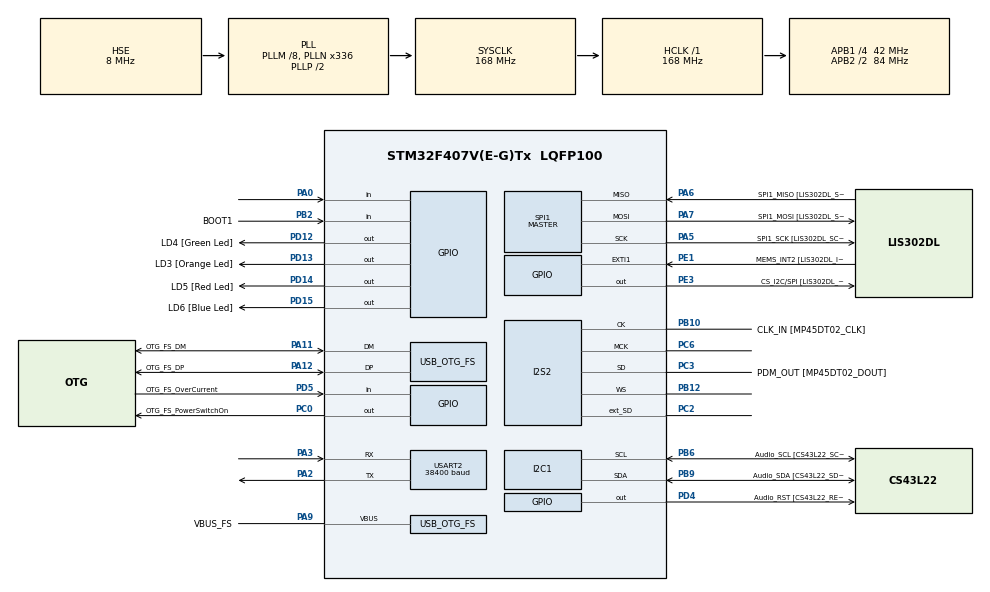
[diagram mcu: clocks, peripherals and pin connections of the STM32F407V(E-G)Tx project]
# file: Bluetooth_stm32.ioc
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Dma.I2S2_EXT_RX.0.Direction=DMA_PERIPH_TO_MEMORY
Dma.I2S2_EXT_RX.0.FIFOMode=DMA_FIFOMODE_DISABLE
Dma.I2S2_EXT_RX.0.Instance=DMA1_Stream3
Dma.I2S2_EXT_RX.0.MemDataAlignment=DMA_MDATAALIGN_HALFWORD
Dma.I2S2_EXT_RX.0.MemInc=DMA_MINC_ENABLE
Dma.I2S2_EXT_RX.0.Mode=DMA_CIRCULAR
Dma.I2S2_EXT_RX.0.PeriphDataAlignment=DMA_PDATAALIGN_HALFWORD
Dma.I2S2_EXT_RX.0.PeriphInc=DMA_PINC_DISABLE
Dma.I2S2_EXT_RX.0.Priority=DMA_PRIORITY_HIGH
Dma.Request0=I2S2_EXT_RX
Dma.Request1=SPI2_TX
Dma.SPI2_TX.1.Direction=DMA_MEMORY_TO_PERIPH
Dma.SPI2_TX.1.FIFOMode=DMA_FIFOMODE_DISABLE
Dma.SPI2_TX.1.Instance=DMA1_Stream4
Dma.SPI2_TX.1.MemDataAlignment=DMA_MDATAALIGN_HALFWORD
Dma.SPI2_TX.1.MemInc=DMA_MINC_ENABLE
Dma.SPI2_TX.1.Mode=DMA_CIRCULAR
Dma.SPI2_TX.1.PeriphDataAlignment=DMA_PDATAALIGN_HALFWORD
Dma.SPI2_TX.1.PeriphInc=DMA_PINC_DISABLE
Dma.SPI2_TX.1.Priority=DMA_PRIORITY_HIGH
FREERTOS.Tasks01=defaultTask,24,128,StartDefaultTask,Default,NULL,Dynamic,NULL,NULL
I2S2.AudioFreq=AudioFreqCustomValue
I2S2.AudioFreqCustom=44100
I2S2.DataFormat=I2S_DATAFORMAT_16B_EXTENDED
I2S2.ErrorAudioFreq=0.24 %
I2S2.FullDuplexMode=I2S_FULLDUPLEXMODE_ENABLE
I2S2.Instance=SPI$Index
I2S2.RealAudioFreq=44.108 KHz
I2S2.VirtualMode=I2S_MODE_MASTER
Mcu.Family=STM32F4
Mcu.Name=STM32F407V(E-G)Tx
Mcu.Package=LQFP100
NVIC.DMA1_Stream3_IRQn=true\:5\:0\:false\:false\:true\:true\:false\:true\:true
NVIC.DMA1_Stream4_IRQn=true\:5\:0\:false\:false\:true\:true\:false\:true\:true
NVIC.OTG_FS_IRQn=true\:5\:0\:false\:false\:true\:true\:true\:true\:true
NVIC.PriorityGroup=NVIC_PRIORITYGROUP_4
NVIC.TIM6_DAC_IRQn=true\:15\:0\:false\:false\:true\:false\:false\:true\:true
NVIC.TimeBase=TIM6_DAC_IRQn
NVIC.TimeBaseIP=TIM6
PA0-WKUP.Signal=GPIO_Input
PA10.GPIO_Label=OTG_FS_ID
PA10.GPIO_Mode=GPIO_MODE_AF_PP
PA10.GPIO_PuPd=GPIO_NOPULL
PA10.GPIO_Speed=GPIO_SPEED_FREQ_LOW
PA10.Signal=USB_OTG_FS_ID
PA11.GPIO_Label=OTG_FS_DM
PA11.GPIO_Mode=GPIO_MODE_AF_PP
PA11.GPIO_PuPd=GPIO_NOPULL
PA11.GPIO_Speed=GPIO_SPEED_FREQ_LOW
PA11.Mode=Host_Only
PA11.Signal=USB_OTG_FS_DM
PA12.GPIO_Label=OTG_FS_DP
PA12.GPIO_Mode=GPIO_MODE_AF_PP
PA12.GPIO_PuPd=GPIO_NOPULL
PA12.GPIO_Speed=GPIO_SPEED_FREQ_LOW
PA12.Mode=Host_Only
PA12.Signal=USB_OTG_FS_DP
PA13.GPIO_Label=SWDIO
PA13.Mode=Serial_Wire
PA13.Signal=SYS_JTMS-SWDIO
PA14.GPIO_Label=SWCLK
PA14.Mode=Serial_Wire
PA14.Signal=SYS_JTCK-SWCLK
PA2.Mode=Asynchronous
PA2.Signal=USART2_TX
PA3.Mode=Asynchronous
PA3.Signal=USART2_RX
PA4.GPIO_Label=I2S3_WS [CS43L22_LRCK]
PA4.GPIO_Mode=GPIO_MODE_AF_PP
PA4.GPIO_PuPd=GPIO_NOPULL
PA4.GPIO_Speed=GPIO_SPEED_FREQ_LOW
PA4.Signal=I2S3_WS
PA5.GPIO_Label=SPI1_SCK [LIS302DL_SCL/SPC]
PA5.GPIO_Mode=GPIO_MODE_AF_PP
PA5.GPIO_PuPd=GPIO_NOPULL
PA5.GPIO_Speed=GPIO_SPEED_FREQ_LOW
PA5.Mode=Full_Duplex_Master
PA5.Signal=SPI1_SCK
PA6.GPIO_Label=SPI1_MISO [LIS302DL_SDO]
PA6.GPIO_Mode=GPIO_MODE_AF_PP
PA6.GPIO_PuPd=GPIO_NOPULL
PA6.GPIO_Speed=GPIO_SPEED_FREQ_LOW
PA6.Mode=Full_Duplex_Master
PA6.Signal=SPI1_MISO
PA7.GPIO_Label=SPI1_MOSI [LIS302DL_SDA/SDI/SDO]
PA7.GPIO_Mode=GPIO_MODE_AF_PP
PA7.GPIO_PuPd=GPIO_NOPULL
PA7.GPIO_Speed=GPIO_SPEED_FREQ_LOW
PA7.Mode=Full_Duplex_Master
PA7.Signal=SPI1_MOSI
PA9.GPIO_Label=VBUS_FS
PA9.GPIO_Mode=GPIO_MODE_INPUT
PA9.GPIO_PuPd=GPIO_NOPULL
PA9.Mode=Activate_VBUS
PA9.Signal=USB_OTG_FS_VBUS
PB10.GPIO_Label=CLK_IN [MP45DT02_CLK]
PB10.GPIO_Mode=GPIO_MODE_AF_PP
PB10.GPIO_PuPd=GPIO_NOPULL
PB10.GPIO_Speed=GPIO_SPEED_FREQ_LOW
PB10.Mode=Full_Duplex_Master
PB10.Signal=I2S2_CK
PB12.Mode=Full_Duplex_Master
PB12.Signal=I2S2_WS
PB2.GPIO_Label=BOOT1
PB2.GPIO_Mode=GPIO_MODE_INPUT
PB2.GPIO_PuPd=GPIO_NOPULL
PB2.Signal=GPIO_Input
PB3.GPIO_Label=SWO
PB3.Signal=SYS_JTDO-SWO
PB6.GPIO_Label=Audio_SCL [CS43L22_SCL]
PB6.GPIO_Mode=GPIO_MODE_AF_OD
PB6.GPIO_Pu=GPIO_PULLUP
PB6.GPIO_PuPd=GPIO_NOPULL
PB6.GPIO_Speed=GPIO_SPEED_FREQ_LOW
PB6.Mode=I2C
PB6.Signal=I2C1_SCL
PB9.GPIO_Label=Audio_SDA [CS43L22_SDA]
PB9.GPIO_Mode=GPIO_MODE_AF_OD
PB9.GPIO_Pu=GPIO_PULLUP
PB9.GPIO_PuPd=GPIO_NOPULL
PB9.GPIO_Speed=GPIO_SPEED_FREQ_LOW
PB9.Mode=I2C
PB9.Signal=I2C1_SDA
PC0.GPIO_Label=OTG_FS_PowerSwitchOn
PC0.GPIO_PuPd=GPIO_NOPULL
PC0.GPIO_Speed=GPIO_SPEED_FREQ_LOW
PC0.PinState=GPIO_PIN_SET
PC0.Signal=GPIO_Output
PC10.GPIO_Label=I2S3_SCK [CS43L22_SCLK]
PC10.GPIO_Mode=GPIO_MODE_AF_PP
PC10.GPIO_PuPd=GPIO_NOPULL
PC10.GPIO_Speed=GPIO_SPEED_FREQ_LOW
PC10.Signal=I2S3_CK
PC12.GPIO_Label=I2S3_SD [CS43L22_SDIN]
PC12.GPIO_Mode=GPIO_MODE_AF_PP
PC12.GPIO_PuPd=GPIO_NOPULL
PC12.GPIO_Speed=GPIO_SPEED_FREQ_LOW
PC12.Signal=I2S3_SD
PC14-OSC32_IN.GPIO_Label=PC14-OSC32_IN
PC14-OSC32_IN.Mode=LSE-External-Oscillator
PC14-OSC32_IN.Signal=RCC_OSC32_IN
PC15-OSC32_OUT.GPIO_Label=PC15-OSC32_OUT
PC15-OSC32_OUT.Mode=LSE-External-Oscillator
PC15-OSC32_OUT.Signal=RCC_OSC32_OUT
PC2.Mode=Full_Duplex_Master
PC2.Signal=I2S2_ext_SD
PC3.GPIO_Label=PDM_OUT [MP45DT02_DOUT]
PC3.GPIO_Mode=GPIO_MODE_AF_PP
PC3.GPIO_PuPd=GPIO_NOPULL
PC3.GPIO_Speed=GPIO_SPEED_FREQ_LOW
PC3.Mode=Full_Duplex_Master
PC3.Signal=I2S2_SD
PC6.Mode=Master_Clock_Activated
PC6.Signal=I2S2_MCK
PC7.GPIO_Label=I2S3_MCK [CS43L22_MCLK]
PC7.GPIO_Mode=GPIO_MODE_AF_PP
PC7.GPIO_PuPd=GPIO_NOPULL
PC7.GPIO_Speed=GPIO_SPEED_FREQ_LOW
PC7.Signal=I2S3_MCK
PD12.GPIO_Label=LD4 [Green Led]
PD12.GPIO_PuPd=GPIO_NOPULL
PD12.GPIO_Speed=GPIO_SPEED_FREQ_LOW
PD12.Signal=GPIO_Output
PD13.GPIO_Label=LD3 [Orange Led]
PD13.GPIO_PuPd=GPIO_NOPULL
PD13.GPIO_Speed=GPIO_SPEED_FREQ_LOW
PD13.Signal=GPIO_Output
PD14.GPIO_Label=LD5 [Red Led]
PD14.GPIO_PuPd=GPIO_NOPULL
PD14.GPIO_Speed=GPIO_SPEED_FREQ_LOW
PD14.Signal=GPIO_Output
PD15.GPIO_Label=LD6 [Blue Led]
PD15.GPIO_PuPd=GPIO_NOPULL
PD15.GPIO_Speed=GPIO_SPEED_FREQ_LOW
PD15.Signal=GPIO_Output
PD4.GPIO_Label=Audio_RST [CS43L22_RESET]
PD4.GPIO_PuPd=GPIO_NOPULL
PD4.GPIO_Speed=GPIO_SPEED_FREQ_LOW
PD4.Signal=GPIO_Output
PD5.GPIO_Label=OTG_FS_OverCurrent
PD5.GPIO_Mode=GPIO_MODE_INPUT
PD5.GPIO_PuPd=GPIO_NOPULL
PD5.Signal=GPIO_Input
PE1.GPIO_Label=MEMS_INT2 [LIS302DL_INT2]
PE1.GPIO_ModeDefaultEXTI=GPIO_MODE_EVT_RISING
PE1.GPIO_PuPd=GPIO_NOPULL
PE1.Signal=GPXTI1
PE3.GPIO_Label=CS_I2C/SPI [LIS302DL_CS_I2C/SPI]
PE3.GPIO_PuPd=GPIO_NOPULL
PE3.GPIO_Speed=GPIO_SPEED_FREQ_LOW
PE3.Signal=GPIO_Output
PH0-OSC_IN.GPIO_Label=PH0-OSC_IN
PH0-OSC_IN.Mode=HSE-External-Oscillator
PH0-OSC_IN.Signal=RCC_OSC_IN
PH1-OSC_OUT.GPIO_Label=PH1-OSC_OUT
PH1-OSC_OUT.Mode=HSE-External-Oscillator
PH1-OSC_OUT.Signal=RCC_OSC_OUT
ProjectManager.HeapSize=0x200
ProjectManager.StackSize=0x400
ProjectManager.TargetToolchain=STM32CubeIDE
RCC.48MHZClocksFreq_Value=48000000
RCC.AHBFreq_Value=168000000
RCC.APB1CLKDivider=RCC_HCLK_DIV4
RCC.APB1Freq_Value=42000000
RCC.APB1TimFreq_Value=84000000
RCC.APB2CLKDivider=RCC_HCLK_DIV2
RCC.APB2Freq_Value=84000000
RCC.APB2TimFreq_Value=168000000
RCC.CortexFreq_Value=168000000
RCC.HCLKFreq_Value=168000000
RCC.HSE_VALUE=8000000
RCC.HSI_VALUE=16000000
RCC.PLLI2SN=271
RCC.PLLM=8
RCC.PLLN=336
RCC.PLLQ=7
RCC.SYSCLKFreq_VALUE=168000000
RCC.SYSCLKSource=RCC_SYSCLKSOURCE_PLLCLK
RCC.VCOOutputFreq_Value=336000000
SPI1.BaudRatePrescaler-Full_Duplex_Master=SPI_BAUDRATEPRESCALER_2
SPI1.CalculateBaudRate-Full_Duplex_Master=42.0 MBits/s
SPI1.Direction=SPI_DIRECTION_2LINES
SPI1.Mode=SPI_MODE_MASTER
SPI1.Mode-Full_Duplex_Master=SPI_MODE_MASTER
SPI1.VirtualType=VM_MASTER
USART2.BaudRate=38400
USART2.VirtualMode=VM_ASYNC
USB_HOST.BSP.number=1
USB_HOST.USBH_HandleTypeDef-CDC_FS=hUsbHostFS
USB_HOST.VirtualModeFS=Cdc
USB_HOST0.BSP.STBoard=false
USB_HOST0.BSP.api=Unknown
USB_HOST0.BSP.instance=PC0
USB_HOST0.BSP.ip=GPIO
USB_HOST0.BSP.mode=Output
USB_HOST0.BSP.name=Drive_VBUS_FS
USB_HOST0.BSP.solution=PC0
USB_OTG_FS.VirtualMode=Host_Only
USB_OTG_FS.phy_itface=HCD_PHY_EMBEDDED
VP_FREERTOS_VS_CMSIS_V2.Mode=CMSIS_V2
VP_SYS_VS_tim6.Mode=TIM6
VP_USB_HOST_VS_USB_HOST_CDC_FS.Mode=CDC_FS
board=STM32F407G-DISC1

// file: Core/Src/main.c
/******************************************************************************
 * @file    main.c
 * @author  Junkai Li
 * @date    2026-04-28
 * @brief   Bluetooth DSP Speaker - 8-Band Parametric EQ
 * @mail	ssyjl10@outlook.com
 *
 * Real-time audio processing system with 8-band peaking EQ,
 * 1024-point FFT spectrum analysis, and Python GUI control.
 *
 * Hardware: STM32F407VG Discovery + ESP32 + ADAU1761 + TPA3116D2
 *
 * Georgia Institute of Technology
 *
 * GitHub: https://github.com/KaiLyee/bluetooth-dsp-speaker
 ******************************************************************************/
/* USER CODE BEGIN Header */
/**
  ******************************************************************************
  * @file           : main.c
  * @brief          : Main program body
  ******************************************************************************
  */
/* USER CODE END Header */
#include "main.h"
#include "cmsis_os.h"
#include "dma.h"
#include "i2c.h"
#include "i2s.h"
#include "spi.h"
#include "usart.h"
#include "usb_host.h"
#include "gpio.h"

/* USER CODE BEGIN Includes */
#include "queue.h"
#include "arm_math.h"
/* USER CODE END Includes */

/* USER CODE BEGIN PTD */
typedef struct {
    uint8_t band;
    float b0, b1, b2, a1, a2;
} EqBandCoeffs_t;
/* USER CODE END PTD */

/* USER CODE BEGIN PD */
#define AUDIO_BUF_SIZE 16
#define EQ_BANDS 8
/* USER CODE END PD */

/* USER CODE BEGIN PV */

int16_t rxBuf[AUDIO_BUF_SIZE];
int16_t txBuf[AUDIO_BUF_SIZE];

/* FFT collection buffers - 512 points */
float fftBufPre[1024];
float fftBufPost[1024];
volatile uint16_t fftBufIdx = 0;
volatile uint8_t fftReady = 0;

/* 8-band Peaking EQ - initialized to all-pass (gain=0) */
static volatile float eq_b0[EQ_BANDS] = {1,1,1,1,1,1,1,1};
static volatile float eq_b1[EQ_BANDS] = {0,0,0,0,0,0,0,0};
static volatile float eq_b2[EQ_BANDS] = {0,0,0,0,0,0,0,0};
static volatile float eq_a1[EQ_BANDS] = {0,0,0,0,0,0,0,0};
static volatile float eq_a2[EQ_BANDS] = {0,0,0,0,0,0,0,0};

static volatile float eq_x1[EQ_BANDS] = {0};
static volatile float eq_x2[EQ_BANDS] = {0};
static volatile float eq_y1[EQ_BANDS] = {0};
static volatile float eq_y2[EQ_BANDS] = {0};

extern QueueHandle_t xCoeffQueue;
/* USER CODE END PV */

void SystemClock_Config(void);
void MX_FREERTOS_Init(void);

int main(void)
{
  HAL_Init();
  SystemClock_Config();

  MX_GPIO_Init();
  MX_DMA_Init();
  MX_I2C1_Init();
  MX_SPI1_Init();
  MX_I2S2_Init();
  MX_USART2_UART_Init();

  /* USER CODE BEGIN 2 */
  for (int i = 0; i < 6; i++) {
    HAL_GPIO_TogglePin(GPIOD, GPIO_PIN_12);
    HAL_Delay(150);
  }
  /* USER CODE END 2 */

  osKernelInitialize();
  MX_FREERTOS_Init();
  osKernelStart();

  while (1) {}
}

void SystemClock_Config(void)
{
  RCC_OscInitTypeDef RCC_OscInitStruct = {0};
  RCC_ClkInitTypeDef RCC_ClkInitStruct = {0};

  __HAL_RCC_PWR_CLK_ENABLE();
  __HAL_PWR_VOLTAGESCALING_CONFIG(PWR_REGULATOR_VOLTAGE_SCALE1);

  RCC_OscInitStruct.OscillatorType = RCC_OSCILLATORTYPE_HSE;
  RCC_OscInitStruct.HSEState = RCC_HSE_ON;
  RCC_OscInitStruct.PLL.PLLState = RCC_PLL_ON;
  RCC_OscInitStruct.PLL.PLLSource = RCC_PLLSOURCE_HSE;
  RCC_OscInitStruct.PLL.PLLM = 8;
  RCC_OscInitStruct.PLL.PLLN = 336;
  RCC_OscInitStruct.PLL.PLLP = RCC_PLLP_DIV2;
  RCC_OscInitStruct.PLL.PLLQ = 7;
  if (HAL_RCC_OscConfig(&RCC_OscInitStruct) != HAL_OK)
    Error_Handler();

  RCC_ClkInitStruct.ClockType = RCC_CLOCKTYPE_HCLK|RCC_CLOCKTYPE_SYSCLK
                              |RCC_CLOCKTYPE_PCLK1|RCC_CLOCKTYPE_PCLK2;
  RCC_ClkInitStruct.SYSCLKSource = RCC_SYSCLKSOURCE_PLLCLK;
  RCC_ClkInitStruct.AHBCLKDivider = RCC_SYSCLK_DIV1;
  RCC_ClkInitStruct.APB1CLKDivider = RCC_HCLK_DIV4;
  RCC_ClkInitStruct.APB2CLKDivider = RCC_HCLK_DIV2;
  if (HAL_RCC_ClockConfig(&RCC_ClkInitStruct, FLASH_LATENCY_5) != HAL_OK)
    Error_Handler();
}

/* USER CODE BEGIN 4 */

static float biquad(float in,
                    volatile float *b0, volatile float *b1, volatile float *b2,
                    volatile float *a1, volatile float *a2,
                    volatile float *x1, volatile float *x2,
                    volatile float *y1, volatile float *y2)
{
    float out = *b0 * in + *b1 * (*x1) + *b2 * (*x2)
                         - *a1 * (*y1) - *a2 * (*y2);
    *x2 = *x1;
    *x1 = in;
    *y2 = *y1;
    *y1 = out;
    return out;
}

static void process_frame(int16_t in_L, int16_t in_R,
                          int16_t *out_L, int16_t *out_R)
{
    float sample = ((float)in_L + (float)in_R) * 0.5f;

    for (int i = 0; i < EQ_BANDS; i++)
    {
        sample = biquad(sample,
                        &eq_b0[i], &eq_b1[i], &eq_b2[i],
                        &eq_a1[i], &eq_a2[i],
                        &eq_x1[i], &eq_x2[i],
                        &eq_y1[i], &eq_y2[i]);
    }

    if (sample >  32767.0f) sample =  32767.0f;
    if (sample < -32768.0f) sample = -32768.0f;

    *out_L = (int16_t)sample;
    *out_R = (int16_t)sample;
}

void apply_eq_band(int band, float b0, float b1, float b2, float a1, float a2)
{
    if (band < 0 || band >= EQ_BANDS) return;
    eq_b0[band] = b0;
    eq_b1[band] = b1;
    eq_b2[band] = b2;
    eq_a1[band] = a1;
    eq_a2[band] = a2;
    eq_x1[band] = 0; eq_x2[band] = 0;
    eq_y1[band] = 0; eq_y2[band] = 0;
}

static void process_half(int16_t *rx, int16_t *tx)
{
    int16_t outL, outR;

    process_frame(rx[0], rx[1], &outL, &outR);
    tx[0] = outL;
    tx[1] = outR;
    tx[2] = 0;
    tx[3] = 0;

    if (!fftReady && fftBufIdx < 1024)
    {
        fftBufPre[fftBufIdx]  = ((float)rx[0] + (float)rx[1]) * 0.5f;
        fftBufPost[fftBufIdx] = (float)outL;
        fftBufIdx++;
    }

    process_frame(rx[4], rx[5], &outL, &outR);
    tx[4] = outL;
    tx[5] = outR;
    tx[6] = 0;
    tx[7] = 0;

    if (!fftReady && fftBufIdx < 1024)
    {
        fftBufPre[fftBufIdx]  = ((float)rx[4] + (float)rx[5]) * 0.5f;
        fftBufPost[fftBufIdx] = (float)outL;
        fftBufIdx++;
        if (fftBufIdx >= 1024) fftReady = 1;
    }
}

void HAL_I2SEx_TxRxHalfCpltCallback(I2S_HandleTypeDef *hi2s)
{
    process_half(&rxBuf[0], &txBuf[0]);
}

void HAL_I2SEx_TxRxCpltCallback(I2S_HandleTypeDef *hi2s)
{
    process_half(&rxBuf[8], &txBuf[8]);
}

/* USER CODE END 4 */

void HAL_TIM_PeriodElapsedCallback(TIM_HandleTypeDef *htim)
{
  if (htim->Instance == TIM6)
    HAL_IncTick();
}

void Error_Handler(void)
{
  __disable_irq();
  while (1) {}
}

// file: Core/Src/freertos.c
/******************************************************************************
 * @file    freertos.c
 * @author  Junkai Li
 * @date    2026-04-28
 * @brief   FreeRTOS tasks: UART command parser, FFT spectrum, 8-band EQ
 * @mail	ssyjl10@outlook.com
 *
 * Georgia Institute of Technology
 * GitHub: https://github.com/KaiLyee/bluetooth-dsp-speaker
 ******************************************************************************/
/* USER CODE BEGIN Header */
/**
  ******************************************************************************
  * File Name          : freertos.c
  * Description        : Code for freertos applications
  ******************************************************************************
  */
/* USER CODE END Header */

#include "FreeRTOS.h"
#include "task.h"
#include "main.h"
#include "cmsis_os.h"

/* USER CODE BEGIN Includes */
#include "queue.h"
#include "i2s.h"
#include "usart.h"
#include "arm_math.h"
#include <math.h>
#include <string.h>
#include <stdio.h>
#include <stdlib.h>
/* USER CODE END Includes */

/* USER CODE BEGIN PTD */
typedef struct {
    uint8_t band;
    float b0, b1, b2, a1, a2;
} EqBandCoeffs_t;
/* USER CODE END PTD */

/* USER CODE BEGIN PD */
#define FS 44100.0f
#define FFT_SIZE 1024
#define FFT_NUM_BINS (FFT_SIZE / 2)
#define DISPLAY_BINS 64
/* USER CODE END PD */

/* USER CODE BEGIN Variables */
QueueHandle_t xCoeffQueue = NULL;

/* FFT working buffers - STATIC globals */
static float fftIn[FFT_SIZE];
static float fftOut[FFT_SIZE];
static float magPre[FFT_NUM_BINS];
static float magPost[FFT_NUM_BINS];

/* FFTTask large locals moved to static to avoid stack overflow */
static uint16_t dispPre[DISPLAY_BINS];
static uint16_t dispPost[DISPLAY_BINS];
static char fftLine[600];
/* USER CODE END Variables */

osThreadId_t defaultTaskHandle;
const osThreadAttr_t defaultTask_attributes = {
  .name = "defaultTask",
  .stack_size = 128 * 4,
  .priority = (osPriority_t) osPriorityNormal,
};

/* USER CODE BEGIN FunctionPrototypes */
void ButtonTask(void *argument);
void UartTask(void *argument);
void FFTTask(void *argument);
static void compute_peaking_eq(float fc, float gain_dB, float Q, EqBandCoeffs_t *c, uint8_t band);
/* USER CODE END FunctionPrototypes */

void StartDefaultTask(void *argument);
extern void MX_USB_HOST_Init(void);
void MX_FREERTOS_Init(void);

void MX_FREERTOS_Init(void) {
  xCoeffQueue = xQueueCreate(1, sizeof(EqBandCoeffs_t));

  defaultTaskHandle = osThreadNew(StartDefaultTask, NULL, &defaultTask_attributes);

  const osThreadAttr_t buttonTask_attributes = {
    .name = "ButtonTask", .stack_size = 512 * 4,
    .priority = (osPriority_t) osPriorityLow,
  };
  osThreadNew(ButtonTask, NULL, &buttonTask_attributes);

  const osThreadAttr_t uartTask_attributes = {
    .name = "UartTask", .stack_size = 512 * 4,
    .priority = (osPriority_t) osPriorityLow,
  };
  osThreadNew(UartTask, NULL, &uartTask_attributes);

  const osThreadAttr_t fftTask_attributes = {
    .name = "FFTTask", .stack_size = 512 * 4,
    .priority = (osPriority_t) osPriorityLow,
  };
  osThreadNew(FFTTask, NULL, &fftTask_attributes);
}

void StartDefaultTask(void *argument)
{
  MX_USB_HOST_Init();

  extern int16_t rxBuf[];
  extern int16_t txBuf[];

  if (HAL_I2SEx_TransmitReceive_DMA(&hi2s2,
        (uint16_t *)txBuf, (uint16_t *)rxBuf, 16) != HAL_OK)
  {
      HAL_GPIO_WritePin(GPIOD, GPIO_PIN_14, GPIO_PIN_SET);
      for (;;) { osDelay(1000); }
  }
  HAL_GPIO_WritePin(GPIOD, GPIO_PIN_12, GPIO_PIN_SET);

  for(;;) { osDelay(1000); }
}

/* USER CODE BEGIN Application */

static void compute_peaking_eq(float fc, float gain_dB, float Q, EqBandCoeffs_t *c, uint8_t band)
{
    float A = powf(10.0f, gain_dB / 40.0f);
    float w0 = 2.0f * PI * fc / FS;
    float cosw0 = cosf(w0);
    float sinw0 = sinf(w0);
    float alpha = sinw0 / (2.0f * Q);
    float a0 = 1.0f + alpha / A;

    c->band = band;
    c->b0 = (1.0f + alpha * A) / a0;
    c->b1 = (-2.0f * cosw0) / a0;
    c->b2 = (1.0f - alpha * A) / a0;
    c->a1 = (-2.0f * cosw0) / a0;
    c->a2 = (1.0f - alpha / A) / a0;
}

void ButtonTask(void *argument)
{
    for (;;) { osDelay(500); }
}

void UartTask(void *argument)
{
    extern UART_HandleTypeDef huart2;
    char rxLine[64];
    uint8_t rxByte;
    uint8_t idx = 0;

    static const float band_freqs[8] = {63, 125, 250, 500, 1000, 2000, 4000, 8000};
    static const float band_Q = 0.7f;

    const char *hello = "STM32 DSP Ready\r\n";
    HAL_UART_Transmit(&huart2, (uint8_t *)hello, strlen(hello), 100);

    osDelay(3000);
    { uint8_t dummy; while (HAL_UART_Receive(&huart2, &dummy, 1, 10) == HAL_OK) {} }

    HAL_GPIO_WritePin(GPIOD, GPIO_PIN_15, GPIO_PIN_SET);

    for (;;)
    {
        if (HAL_UART_Receive(&huart2, &rxByte, 1, 50) == HAL_OK)
        {
            if (rxByte == '\n' || rxByte == '\r')
            {
                if (idx > 0)
                {
                    rxLine[idx] = '\0';

                    if (strcmp(rxLine, "PING") == 0)
                    {
                        const char *msg = "OK:PONG\r\n";
                        HAL_UART_Transmit(&huart2, (uint8_t *)msg, strlen(msg), 100);
                    }
                    else if (strncmp(rxLine, "EQ:", 3) == 0)
                    {
                        char *comma = strchr(rxLine + 3, ',');
                        if (comma)
                        {
                            *comma = '\0';
                            int band = atoi(rxLine + 3);
                            int gain = atoi(comma + 1);

                            if (band >= 0 && band < 8 && gain >= -12 && gain <= 12)
                            {
                                EqBandCoeffs_t coeffs;
                                compute_peaking_eq(band_freqs[band], (float)gain, band_Q, &coeffs, (uint8_t)band);

                                extern void apply_eq_band(int band, float b0, float b1, float b2, float a1, float a2);
                                apply_eq_band(coeffs.band, coeffs.b0, coeffs.b1, coeffs.b2, coeffs.a1, coeffs.a2);

                                const char *msg = "OK:EQ\r\n";
                                HAL_UART_Transmit(&huart2, (uint8_t *)msg, strlen(msg), 100);
                            }
                            else
                            {
                                const char *msg = "ERR:range\r\n";
                                HAL_UART_Transmit(&huart2, (uint8_t *)msg, strlen(msg), 100);
                            }
                        }
                    }
                    idx = 0;
                }
            }
            else
            {
                if (rxByte >= 0x20 && rxByte <= 0x7E)
                {
                    if (idx < sizeof(rxLine) - 1)
                        rxLine[idx++] = (char)rxByte;
                }
                else
                    idx = 0;
            }
        }
    }
}

void FFTTask(void *argument)
{
    extern UART_HandleTypeDef huart2;
    extern float fftBufPre[];
    extern float fftBufPost[];
    extern volatile uint16_t fftBufIdx;
    extern volatile uint8_t fftReady;

    arm_rfft_fast_instance_f32 fftInst;
    arm_rfft_fast_init_f32(&fftInst, FFT_SIZE);

    /* Log-spaced bin mapping: 512 FFT bins -> 64 display bins */
    static const uint16_t bin_map[65] = {
            1, 2, 3, 4, 5, 6, 7, 8, 9, 10, 11, 12, 13, 14, 15, 16,
            17, 18, 19, 20, 21, 22, 23, 24, 25, 26, 27, 28, 29, 30, 31, 32,
            33, 34, 35, 36, 37, 38, 39, 42, 46, 51, 56, 62, 68, 75, 83, 91,
            100, 110, 121, 133, 147, 162, 178, 196, 215, 237, 261, 287, 316, 348, 383, 422,
            464
        };

    osDelay(5000);

    for (;;)
    {
        if (fftReady)
        {
            for (int i = 0; i < FFT_SIZE; i++)
                fftIn[i] = fftBufPre[i];
            arm_rfft_fast_f32(&fftInst, fftIn, fftOut, 0);
            arm_cmplx_mag_f32(fftOut, magPre, FFT_NUM_BINS);

            for (int i = 0; i < FFT_SIZE; i++)
                fftIn[i] = fftBufPost[i];
            arm_rfft_fast_f32(&fftInst, fftIn, fftOut, 0);
            arm_cmplx_mag_f32(fftOut, magPost, FFT_NUM_BINS);

            for (int i = 0; i < DISPLAY_BINS; i++)
            {
                float maxPre = 0, maxPost = 0;
                for (int k = bin_map[i]; k < bin_map[i + 1]; k++)
                {
                    if (k < FFT_NUM_BINS)
                    {
                        if (magPre[k] > maxPre) maxPre = magPre[k];
                        if (magPost[k] > maxPost) maxPost = magPost[k];
                    }
                }
                dispPre[i]  = (uint16_t)(maxPre / 32768.0f * 999.0f);
                dispPost[i] = (uint16_t)(maxPost / 32768.0f * 999.0f);
                if (dispPre[i] > 999) dispPre[i] = 999;
                if (dispPost[i] > 999) dispPost[i] = 999;
            }

            int pos = 0;
            fftLine[pos++] = 'F'; fftLine[pos++] = 'F'; fftLine[pos++] = 'T'; fftLine[pos++] = ':';

            for (int i = 0; i < DISPLAY_BINS; i++)
            {
                uint16_t val = dispPre[i];
                if (val >= 100) { fftLine[pos++] = '0' + val / 100; val %= 100; fftLine[pos++] = '0' + val / 10; fftLine[pos++] = '0' + val % 10; }
                else if (val >= 10) { fftLine[pos++] = '0' + val / 10; fftLine[pos++] = '0' + val % 10; }
                else { fftLine[pos++] = '0' + val; }
                if (i < DISPLAY_BINS - 1) fftLine[pos++] = ',';
            }

            fftLine[pos++] = ';';

            for (int i = 0; i < DISPLAY_BINS; i++)
            {
                uint16_t val = dispPost[i];
                if (val >= 100) { fftLine[pos++] = '0' + val / 100; val %= 100; fftLine[pos++] = '0' + val / 10; fftLine[pos++] = '0' + val % 10; }
                else if (val >= 10) { fftLine[pos++] = '0' + val / 10; fftLine[pos++] = '0' + val % 10; }
                else { fftLine[pos++] = '0' + val; }
                if (i < DISPLAY_BINS - 1) fftLine[pos++] = ',';
            }

            fftLine[pos++] = '\r';
            fftLine[pos++] = '\n';

            HAL_UART_Transmit(&huart2, (uint8_t *)fftLine, pos, 500);

            fftBufIdx = 0;
            fftReady = 0;

            osDelay(500);
        }
        else
        {
            osDelay(50);
        }
    }
}

/* USER CODE END Application */
